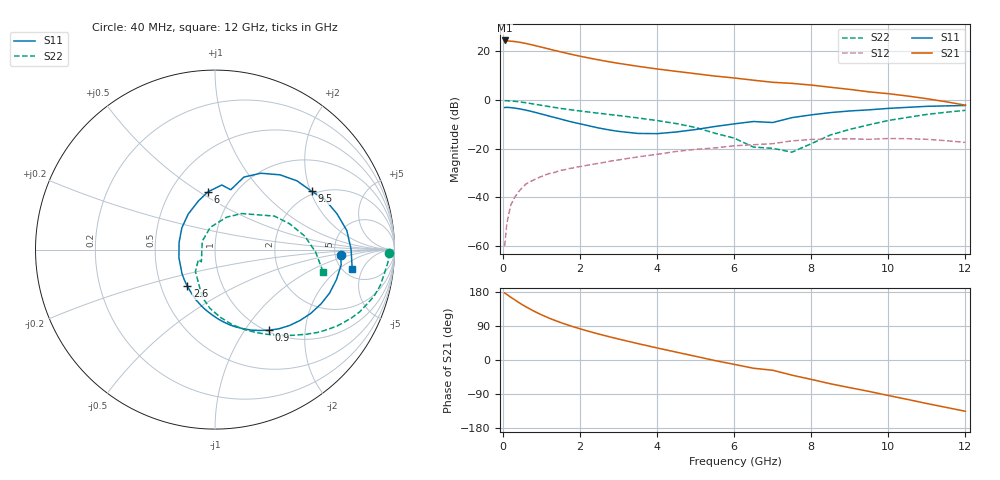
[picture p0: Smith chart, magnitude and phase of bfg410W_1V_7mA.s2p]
! Filename: 17bfg410.001
! BFG410W Field B1
! V1=8.733E-001V,V2=1.000E+000V, I1=1.124E-004A, I2=6.990E-003A
# GHz  S  MA  R 50
!  S11  S21  S12  S22
!Freq(GHz)  Mag  Ang  Mag  Ang  Mag  Ang  Mag  Ang
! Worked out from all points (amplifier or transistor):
!   44 points, 40 MHz to 12 GHz, reference 50 ohm
!   highest |S21| = 24.4 dB at 40 MHz (marker M1)
!   |S21| within 3 dB of that: start of sweep to 1.062 GHz
!   unconditionally stable (mu >= 1): start of sweep to 44.71 MHz; 2.114 GHz to end of sweep
!   at 700 MHz: K = 0.44, MSG = 28.2 dB, |S12| = -33.6 dB
!   at 2.4 GHz: K = 1.08, MAG = 19.8 dB, |S12| = -26.2 dB
!   at 12 GHz: K = 1.55, MAG = 3.3 dB, |S12| = -17.4 dB
!   S11 on the Smith chart (normalised r, x): 40 MHz: 5.62, -0.69; 900 MHz: 1.02, -1.30; 2.6 GHz: 0.68, -0.30; 6 GHz: 0.76, +0.54; 9.5 GHz: 1.90, +2.04; 12 GHz: 6.04, -3.20
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0.04  0.702 -2.5  16.69 176.9  0.001 75.3  0.967 -1.0
0.1  0.708 -7.0  16.46 172.9  0.003 86.1  0.968 -3.7
0.2  0.697 -13.9  16.12 165.6  0.007 81.2  0.952 -8.4
0.3  0.683 -20.7  15.86 159.1  0.01 77.8  0.942 -12.3
0.4  0.664 -27.0  15.46 152.2  0.013 74.7  0.923 -16.4
0.5  0.641 -33.7  14.97 146.0  0.016 70.5  0.899 -19.8
0.7  0.593 -45.4  13.83 134.4  0.021 64.8  0.851 -26.5
0.9  0.54 -56.2  12.72 123.9  0.025 60.3  0.802 -32.1
1.2  0.467 -70.6  11.1 110.3  0.031 55.0  0.732 -39.2
1.5  0.405 -83.5  9.716 98.6  0.036 51.3  0.672 -44.9
1.8  0.352 -95.5  8.569 88.4  0.04 48.4  0.623 -50.0
2.2  0.299 -111.0  7.354 76.4  0.046 45.2  0.569 -56.5
2.6  0.256 -127.0  6.404 65.4  0.052 42.1  0.522 -62.7
3.5  0.206 -167.6  4.921 43.3  0.068 33.8  0.429 -77.1
4.5  0.221 146.7  3.87 20.7  0.088 21.8  0.328 -95.0
6  0.324 97.0  2.834 -11.5  0.115 0.4  0.165 -131.3
6.5  0.362 84.0  2.548 -21.8  0.121 -6.7  0.108 -149.2
7.5  0.435 68.3  2.195 -40.0  0.145 -17.8  0.085 146.9
8.5  0.552 49.0  1.828 -62.8  0.158 -39.8  0.192 70.3
9.5  0.629 31.1  1.47 -82.9  0.156 -58.7  0.31 38.6
10.5  0.708 16.5  1.207 -104.0  0.161 -78.3  0.44 19.0
12  0.772 -8.0  0.783 -135.3  0.135 -114.0  0.614 -11.5
